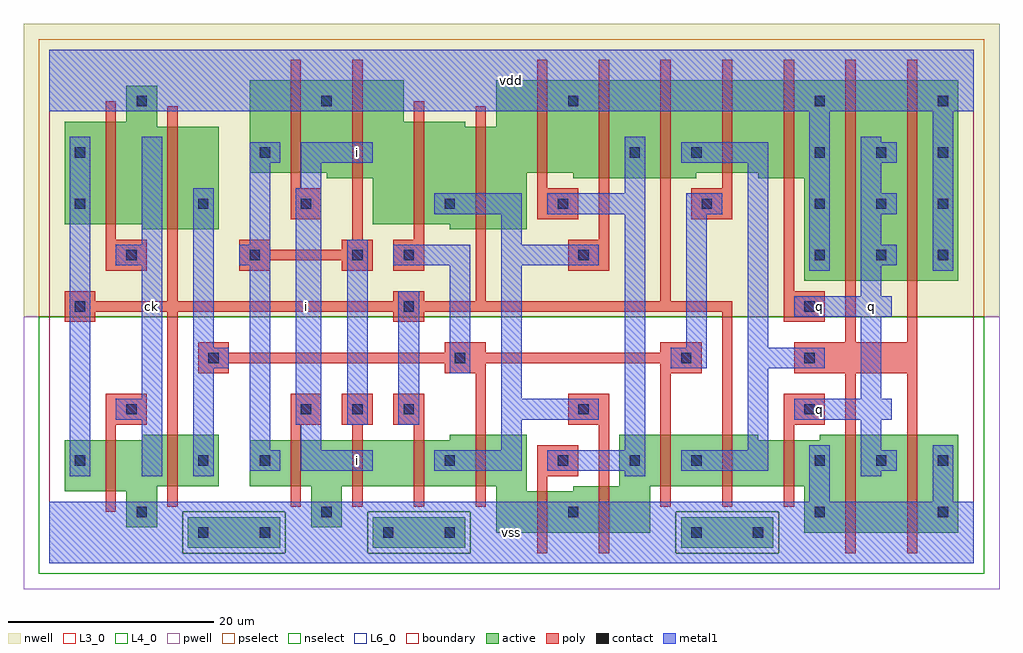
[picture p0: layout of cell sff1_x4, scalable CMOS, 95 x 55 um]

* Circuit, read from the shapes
.subckt sff1_x4 ck i q vdd vss
M1 vss ck n1 vss nfet w=5u l=1u
M2 n2 n1 vss vss nfet w=5u l=1u
M3 vss i n3 vss nfet w=4.5u l=1u
M4 n4 n3 vss vss nfet w=4.5u l=1u
M5 n5 n1 n4 vss nfet w=4.5u l=1u
M6 n6 n2 n5 vss nfet w=5u l=1u
M7 vss n7 n6 vss nfet w=4u l=1u
M8 n7 n5 vss vss nfet w=4.5u l=1u
M9 n8 n2 n7 vss nfet w=5u l=1u
M10 n9 n1 n8 vss nfet w=5u l=1u
M11 vss q n9 vss nfet w=4.5u l=1u
M12 q n8 vss vss nfet w=9.5u l=1u m=2
M13 vdd ck n1 n10 pfet w=10u l=1u
M14 n2 n1 vdd n10 pfet w=10u l=1u
M15 vdd i n3 n10 pfet w=9u l=1u
M16 n11 n3 vdd n10 pfet w=9.5u l=1u
M17 n5 n2 n11 n10 pfet w=10u l=1u
M18 n12 n1 n5 n10 pfet w=10u l=1u
M19 vdd n7 n12 n10 pfet w=9u l=1u
M20 n7 n5 vdd n10 pfet w=9.5u l=1u
M21 n8 n1 n7 n10 pfet w=9.5u l=1u
M22 n13 n2 n8 n10 pfet w=9u l=1u
M23 vdd q n13 n10 pfet w=9.5u l=1u
M24 q n8 vdd n10 pfet w=19.5u l=1u m=2
.ends

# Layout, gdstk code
import gdstk
lib = gdstk.Library(unit=1e-6, precision=1e-09)
def R(c, l, rs):  # rectangles x0, y0, x1, y1
    for r in rs: c.add(gdstk.rectangle(r[:2], r[2:], *l))
def A(c, l, x, y, w, h, nx, ny, dx, dy):  # array of equal rectangles
    R(c, l, [(x+i*dx, y+j*dy, x+i*dx+w, y+j*dy+h) for i in range(nx) for j in range(ny)])
L3_0 = (3, 0)
L4_0 = (4, 0)
L6_0 = (6, 0)
contact = (25, 0)
pwell = (41, 0)
nwell = (42, 0)
active = (43, 0)
pselect = (44, 0)
nselect = (45, 0)
poly = (46, 0)
metal1 = (49, 0)
boundary = (63, 0)

sff1_x4 = lib.new_cell('sff1_x4')
R(sff1_x4, L3_0, [(43.5,3,58.5,7), (73.5,3,88.5,7.5), (7.5,3.5,10.5,7), (25.5,3.5,28.5,7.5), (1.5,7,10.5,7.5), (43.5,7,46.5,7.5), (51,7,58.5,7.5), (1.5,7.5,16.5,12), (19.5,7.5,46.5,12), (55.5,7.5,88.5,12), (9,12,16.5,12.5), (39,12,46.5,12.5), (55.5,12,69,12.5), (75,12,88.5,12.5)])
R(sff1_x4, L4_0, [(73.5,27.5,88.5,37.5), (9,32.5,16.5,33), (39,32.5,46.5,33), (1.5,33,16.5,42.5), (31.5,33,46.5,37.5), (27,37.5,46.5,38), (51,37.5,63,38), (69,37.5,88.5,38), (19.5,38,88.5,42.5), (1.5,42.5,10.5,43), (19.5,42.5,40.5,43), (43.5,42.5,88.5,47), (7.5,43,10.5,46.5), (19.5,43,34.5,47)])
R(sff1_x4, L6_0, [(13.5,1.5,22.5,4.5), (31.5,1.5,40.5,4.5), (61.5,1.5,70.5,4.5)])
A(sff1_x4, contact, 26.5, 4.5, 1, 1, 3, 2, 24, 40)
A(sff1_x4, contact, 74.5, 9.5, 1, 1, 3, 2, 6, 20)
A(sff1_x4, contact, 24.5, 14.5, 1, 1, 3, 1, 5, 0)
A(sff1_x4, contact, 73.5, 14.5, 1, 1, 1, 3, 0, 5)
A(sff1_x4, contact, 74.5, 34.5, 1, 1, 3, 2, 6, 5)
R(sff1_x4, contact, [(14.5,2.5,15.5,3.5), (20.5,2.5,21.5,3.5), (32.5,2.5,33.5,3.5), (38.5,2.5,39.5,3.5), (62.5,2.5,63.5,3.5), (68.5,2.5,69.5,3.5), (8.5,4.5,9.5,5.5), (86.5,4.5,87.5,5.5), (2.5,9.5,3.5,10.5), (14.5,9.5,15.5,10.5), (20.5,9.5,21.5,10.5), (38.5,9.5,39.5,10.5), (49.5,9.5,50.5,10.5), (56.5,9.5,57.5,10.5), (62.5,9.5,63.5,10.5), (7.5,14.5,8.5,15.5), (51.5,14.5,52.5,15.5), (15.5,19.5,16.5,20.5), (39.5,19.5,40.5,20.5), (61.5,19.5,62.5,20.5), (2.5,24.5,3.5,25.5), (34.5,24.5,35.5,25.5), (7.5,29.5,8.5,30.5), (19.5,29.5,20.5,30.5), (29.5,29.5,30.5,30.5), (34.5,29.5,35.5,30.5), (51.5,29.5,52.5,30.5), (2.5,34.5,3.5,35.5), (14.5,34.5,15.5,35.5), (24.5,34.5,25.5,35.5), (38.5,34.5,39.5,35.5), (49.5,34.5,50.5,35.5), (63.5,34.5,64.5,35.5), (2.5,39.5,3.5,40.5), (20.5,39.5,21.5,40.5), (56.5,39.5,57.5,40.5), (62.5,39.5,63.5,40.5), (8.5,44.5,9.5,45.5), (86.5,44.5,87.5,45.5)])
R(sff1_x4, pwell, [(-2.5,-2.5,92.5,24)])
R(sff1_x4, nwell, [(-2.5,24,92.5,52.5)])
R(sff1_x4, active, [(13.5,1.5,22.5,4.5), (31.5,1.5,40.5,4.5), (61.5,1.5,70.5,4.5), (43.5,3,58.5,7), (73.5,3,88.5,7.5), (7.5,3.5,10.5,7), (25.5,3.5,28.5,7.5), (1.5,7,10.5,7.5), (43.5,7,46.5,7.5), (51,7,58.5,7.5), (1.5,7.5,16.5,12), (19.5,7.5,46.5,12), (55.5,7.5,88.5,12), (9,12,16.5,12.5), (39,12,46.5,12.5), (55.5,12,69,12.5), (75,12,88.5,12.5), (73.5,27.5,88.5,37.5), (9,32.5,16.5,33), (39,32.5,46.5,33), (1.5,33,16.5,42.5), (31.5,33,46.5,37.5), (27,37.5,46.5,38), (51,37.5,63,38), (69,37.5,88.5,38), (19.5,38,88.5,42.5), (1.5,42.5,10.5,43), (19.5,42.5,40.5,43), (43.5,42.5,88.5,47), (7.5,43,10.5,46.5), (19.5,43,34.5,47)])
R(sff1_x4, pselect, [(13,1,23,5), (31,1,41,5), (61,1,71,5), (-1,24,91,51)])
R(sff1_x4, nselect, [(-1,-1,91,1), (-1,1,13,5), (23,1,31,5), (41,1,61,5), (71,1,91,5), (-1,5,91,24)])
A(sff1_x4, poly, 23.5, 5.5, 1, 8, 3, 1, 6, 0)
A(sff1_x4, poly, 23.5, 13.5, 3, 3, 3, 1, 5, 0)
R(sff1_x4, poly, [(47.5,1,48.5,8.5), (53.5,1,54.5,13.5), (77.5,1,78.5,18.5), (83.5,1,84.5,18.5), (5.5,5,6.5,13.5), (11.5,5.5,12.5,24.5), (41.5,5.5,42.5,18.5), (59.5,5.5,60.5,18.5), (65.5,5.5,66.5,24.5), (71.5,5.5,72.5,13.5), (47.5,8.5,51.5,11.5), (5.5,13.5,9.5,16.5), (50.5,13.5,54.5,16.5), (71.5,13.5,75.5,16.5), (14.5,18.5,17.5,19.5), (38.5,18.5,42.5,19.5), (59.5,18.5,63.5,19.5), (72.5,18.5,84.5,21.5), (14.5,19.5,63.5,20.5), (14.5,20.5,17.5,21.5), (38.5,20.5,42.5,21.5), (59.5,20.5,63.5,21.5), (77.5,21.5,78.5,49), (83.5,21.5,84.5,49), (1.5,23.5,4.5,24.5), (33.5,23.5,36.5,24.5), (71.5,23.5,75.5,26.5), (1.5,24.5,66.5,25.5), (1.5,25.5,4.5,26.5), (11.5,25.5,12.5,44.5), (33.5,25.5,36.5,26.5), (41.5,25.5,42.5,44.5), (59.5,25.5,60.5,49), (71.5,26.5,72.5,49), (5.5,28.5,9.5,31.5), (18.5,28.5,21.5,29.5), (28.5,28.5,31.5,29.5), (33.5,28.5,36.5,31.5), (50.5,28.5,54.5,31.5), (18.5,29.5,31.5,30.5), (18.5,30.5,21.5,31.5), (28.5,30.5,31.5,31.5), (5.5,31.5,6.5,45), (29.5,31.5,30.5,49), (35.5,31.5,36.5,45), (53.5,31.5,54.5,49), (23.5,33.5,26.5,36.5), (47.5,33.5,51.5,36.5), (62.5,33.5,66.5,36.5), (23.5,36.5,24.5,49), (47.5,36.5,48.5,49), (65.5,36.5,66.5,49)])
R(sff1_x4, metal1, [(0,0,90,6), (0,0,90,6), (74,6,76,11.5), (74,6,76,11.5), (86,6,88,11.5), (86,6,88,11.5), (2,8.5,4,41.5), (2,8.5,4,41.5), (9,8.5,11,14), (9,8.5,11,14), (14,8.5,16,19), (14,8.5,16,19), (56,8.5,58,9), (56,8.5,58,9), (79,8.5,81,9), (79,8.5,81,9), (19.5,9,22.5,11), (19.5,9,22.5,11), (24.5,9,31.5,11), (24.5,9,31.5,11), (37.5,9,46,11), (37.5,9,46,11), (48.5,9,58,11), (48.5,9,58,11), (61.5,9,70,11), (61.5,9,70,11), (79,9,82.5,11), (79,9,82.5,11), (19.5,11,21.5,29), (19.5,11,21.5,29), (24.5,11,26.5,13.5), (24.5,11,26.5,13.5), (44,11,46,14), (44,11,46,14), (56,11,58,34), (56,11,58,34), (68,11,70,19), (68,11,70,19), (79,11,81,14), (79,11,81,14), (24,13.5,26.5,36.5), (24,13.5,26.5,36.5), (29,13.5,31,31.5), (29,13.5,31,31.5), (34,13.5,36,26.5), (34,13.5,36,26.5), (6.5,14,11,16), (6.5,14,11,16), (44,14,53.5,16), (44,14,53.5,16), (72.5,14,82,16), (72.5,14,82,16), (9,16,11,29), (9,16,11,29), (44,16,46,29), (44,16,46,29), (79,16,81,24), (79,16,81,24), (39,18.5,41,29), (39,18.5,41,29), (14,19,17.5,21), (14,19,17.5,21), (60.5,19,64,21), (60.5,19,64,21), (68,19,75.5,21), (68,19,75.5,21), (14,21,16,36.5), (14,21,16,36.5), (62,21,64,34), (62,21,64,34), (68,21,70,39), (68,21,70,39), (72.5,24,82,26), (72.5,24,82,26), (79,26,81,29), (79,26,81,29), (74,28.5,76,44), (74,28.5,76,44), (86,28.5,88,44), (86,28.5,88,44), (6.5,29,11,31), (6.5,29,11,31), (18.5,29,21.5,31), (18.5,29,21.5,31), (33.5,29,41,31), (33.5,29,41,31), (44,29,53.5,31), (44,29,53.5,31), (79,29,82.5,31), (79,29,82.5,31), (9,31,11,41.5), (9,31,11,41.5), (19.5,31,21.5,39), (19.5,31,21.5,39), (44,31,46,34), (44,31,46,34), (79,31,81,34), (79,31,81,34), (37.5,34,46,36), (37.5,34,46,36), (48.5,34,58,36), (48.5,34,58,36), (62,34,65.5,36), (62,34,65.5,36), (79,34,82.5,36), (79,34,82.5,36), (56,36,58,41.5), (56,36,58,41.5), (79,36,81,39), (79,36,81,39), (24.5,36.5,26.5,39), (24.5,36.5,26.5,39), (19.5,39,22.5,41), (19.5,39,22.5,41), (24.5,39,31.5,41), (24.5,39,31.5,41), (61.5,39,70,41), (61.5,39,70,41), (79,39,82.5,41), (79,39,82.5,41), (79,41,81,41.5), (79,41,81,41.5), (0,44,90,50), (0,44,90,50)])
R(sff1_x4, boundary, [(0,0,90,50)])
sff1_x4.add(gdstk.Label('ck', (10,25), layer=49, texttype=0))
sff1_x4.add(gdstk.Label('i', (30,10), layer=49, texttype=0))
sff1_x4.add(gdstk.Label('i', (25,25), layer=49, texttype=0))
sff1_x4.add(gdstk.Label('i', (30,40), layer=49, texttype=0))
sff1_x4.add(gdstk.Label('vss', (45,3), layer=49, texttype=0))
sff1_x4.add(gdstk.Label('vdd', (45,47), layer=49, texttype=0))
sff1_x4.add(gdstk.Label('q', (75,15), layer=49, texttype=0))
sff1_x4.add(gdstk.Label('q', (80,25), layer=49, texttype=0))
sff1_x4.add(gdstk.Label('q', (75,25), layer=49, texttype=0))

lib.write_gds('sff1_x4.gds')
